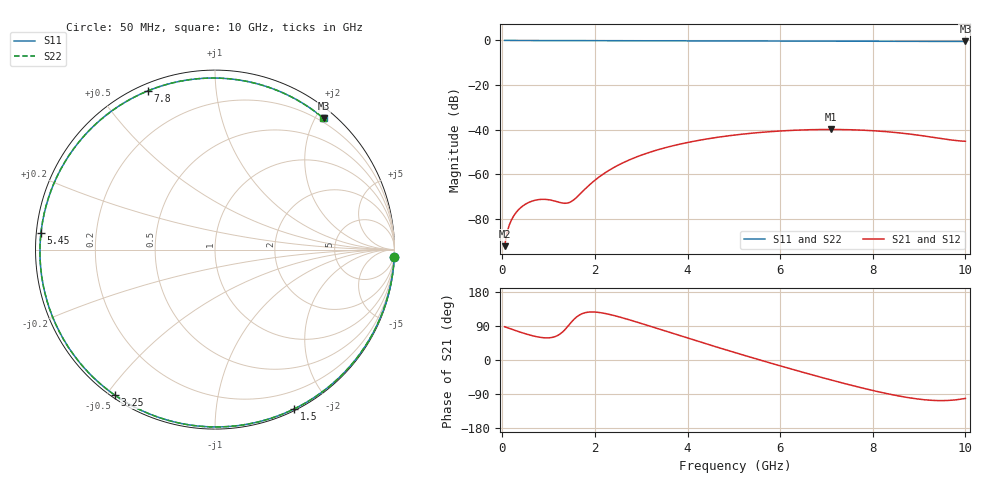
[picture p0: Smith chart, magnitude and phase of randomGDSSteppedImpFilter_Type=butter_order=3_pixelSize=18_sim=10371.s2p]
! freq	dB(S11)	phase(S11)	dB(S12)	phase(S12)
!  dB(S21)	phase(S21)	dB(S22)	phase(S22)
!S-par simulation data
#  GHz  S  DB  R 50
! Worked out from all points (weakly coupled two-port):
!   200 points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, 50 MHz to 10 GHz, reference 50 ohm
!   highest |S21| = -39.93 dB at 7.1 GHz (marker M1); lowest = -92.3 dB at 50 MHz (marker M2)
!   lowest |S11| = -0.5 dB at 10 GHz (marker M3), VSWR 38.35, Z = 7.16 + j106 ohm
!   |S11| at or under -10 dB: nowhere
!   |S22| runs from -0.5 to 0.0 dB; largest |S21 - S12| = 0
!   S11 on the Smith chart (normalised r, x): 50 MHz: 0, -51; 1.5 GHz: 0.02, -1.61; 3.25 GHz: 0.01, -0.53; 5.45 GHz: 0.01, +0.05; 7.8 GHz: 0.03, +0.66; 10 GHz: 0.14, +2.12
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0.05  -0.00 -2.2  -92.28 87.8  -92.28 87.8  -0.00 -2.2
0.2  -0.01 -8.9  -80.41 81.3  -80.41 81.3  -0.01 -8.9
0.4  -0.03 -17.7  -74.95 73.0  -74.95 73.0  -0.03 -17.7
0.7  -0.04 -30.7  -71.72 62.6  -71.72 62.6  -0.04 -30.7
0.95  -0.05 -41.3  -71.33 58.4  -71.33 58.4  -0.05 -41.3
1.35  -0.07 -57.7  -73.05 79.7  -73.05 79.7  -0.07 -57.7
1.5  -0.08 -63.7  -72.13 101.1  -72.13 101.1  -0.08 -63.7
1.75  -0.09 -73.4  -67.42 123.4  -67.42 123.4  -0.09 -73.3
2.05  -0.10 -84.5  -61.89 126.0  -61.89 126.0  -0.10 -84.5
2.4  -0.11 -96.9  -57.10 117.8  -57.10 117.8  -0.11 -96.9
3.25  -0.14 -124.5  -49.72 86.9  -49.72 86.9  -0.14 -124.5
3.4  -0.14 -129.0  -48.79 81.1  -48.79 81.1  -0.14 -129.0
4.2  -0.17 -152.1  -44.97 50.4  -44.97 50.4  -0.17 -152.1
5.05  -0.21 -175.0  -42.35 18.6  -42.35 18.6  -0.21 -175.0
5.45  -0.23 174.5  -41.48 4.1  -41.48 4.1  -0.23 174.6
6.05  -0.26 159.0  -40.55 -17.2  -40.55 -17.2  -0.26 159.0
6.7  -0.29 142.1  -40.02 -39.5  -40.02 -39.5  -0.29 142.2
7.1  -0.32 131.6  -39.93 -52.8  -39.93 -52.8  -0.32 131.7
7.8  -0.35 112.9  -40.27 -74.7  -40.27 -74.7  -0.35 112.9
8.35  -0.38 97.7  -41.02 -89.9  -41.02 -89.9  -0.38 97.8
9.15  -0.42 75.0  -42.98 -105.3  -42.98 -105.3  -0.42 75.1
10  -0.45 50.4  -45.22 -101.4  -45.22 -101.4  -0.45 50.5
